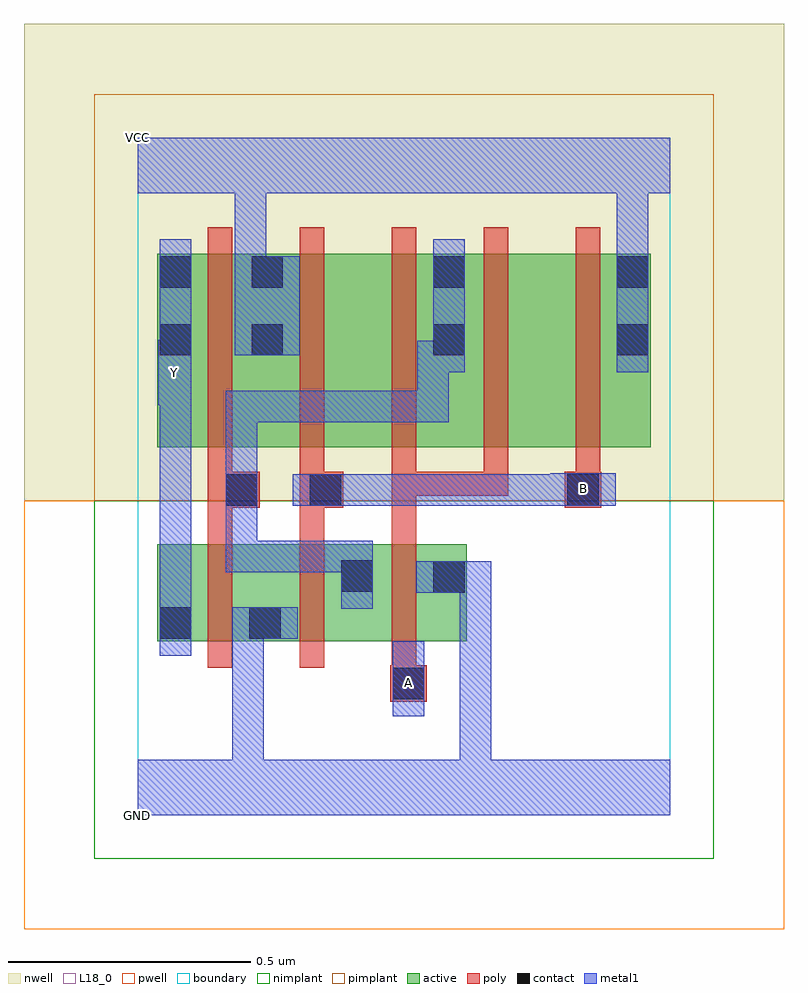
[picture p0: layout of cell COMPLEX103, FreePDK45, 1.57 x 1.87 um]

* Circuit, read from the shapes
.subckt COMPLEX103 A B GND VCC Y
M1 GND n1 Y VSUBS nfet w=0.2u l=0.05u
M2 n1 B GND VSUBS nfet w=0.2u l=0.05u
M3 GND A n1 VSUBS nfet w=0.2u l=0.05u
M4 VCC n1 Y n2 pfet w=0.4u l=0.05u
M5 n3 B VCC n2 pfet w=0.4u l=0.05u
M6 n1 A n3 n2 pfet w=0.4u l=0.05u
M7 n4 A n1 n2 pfet w=0.4u l=0.05u
M8 VCC B n4 n2 pfet w=0.4u l=0.05u
.ends

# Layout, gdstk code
import gdstk
lib = gdstk.Library(unit=1e-6, precision=1e-09)
def R(c, l, rs):  # rectangles x0, y0, x1, y1
    for r in rs: c.add(gdstk.rectangle(r[:2], r[2:], *l))
def A(c, l, x, y, w, h, nx, ny, dx, dy):  # array of equal rectangles
    R(c, l, [(x+i*dx, y+j*dy, x+i*dx+w, y+j*dy+h) for i in range(nx) for j in range(ny)])
active = (1, 0)
pwell = (2, 0)
nwell = (3, 0)
nimplant = (4, 0)
pimplant = (5, 0)
poly = (9, 0)
contact = (10, 0)
metal1 = (11, 0)
L18_0 = (18, 0)
boundary = (235, 0)

complex103 = lib.new_cell('COMPLEX103')
R(complex103, active, [(0.04,0.36,0.115,0.56), (0.04,0.36,0.3,0.56), (0.225,0.36,0.49,0.56), (0.225,0.36,0.3,0.435), (0.415,0.36,0.68,0.56), (0.415,0.36,0.49,0.532), (0.605,0.36,0.68,0.56), (0.04,0.76,0.115,1.16), (0.04,0.76,0.305,1.16), (0.23,0.76,0.455,1.16), (0.455,0.76,0.68,1.16), (0.605,0.76,0.835,1.16), (0.835,0.76,1.06,1.16), (0.985,0.76,1.06,1.16), (0.23,0.907,0.305,1.16), (0.605,0.907,0.68,1.16)])
R(complex103, pwell, [(-0.235,-0.235,1.335,0.65)])
R(complex103, nwell, [(-0.235,0.65,1.335,1.635)])
R(complex103, nimplant, [(-0.09,-0.09,1.19,0.65)])
R(complex103, pimplant, [(-0.09,0.65,1.19,1.49)])
A(complex103, poly, 0.145, 0.305, 0.05, 0.31, 3, 1, 0.19, 0)
R(complex103, poly, [(0.522,0.235,0.597,0.31), (0.525,0.26,0.575,0.355), (0.145,0.565,0.195,0.685), (0.335,0.565,0.385,0.685), (0.525,0.565,0.575,0.71), (0.145,0.635,0.252,0.71), (0.335,0.635,0.425,0.71), (0.882,0.635,0.957,0.71), (0.145,0.66,0.195,0.755), (0.335,0.66,0.385,0.755), (0.525,0.66,0.575,0.71), (0.525,0.66,0.575,0.71), (0.525,0.66,0.575,1.215), (0.525,0.66,0.765,0.71), (0.715,0.66,0.765,0.71), (0.715,0.66,0.765,0.71), (0.715,0.66,0.765,0.71), (0.715,0.66,0.765,0.755), (0.905,0.66,0.955,0.71), (0.905,0.66,0.955,1.215), (0.145,0.705,0.195,1.215), (0.335,0.705,0.385,1.215), (0.715,0.705,0.765,1.215)])
R(complex103, contact, [(0.527,0.24,0.592,0.305), (0.045,0.365,0.11,0.43), (0.23,0.365,0.295,0.43), (0.61,0.46,0.675,0.525), (0.42,0.462,0.485,0.527), (0.182,0.64,0.247,0.705), (0.355,0.64,0.42,0.705), (0.887,0.64,0.952,0.705), (0.045,0.95,0.11,1.015), (0.235,0.95,0.3,1.015), (0.61,0.95,0.675,1.015), (0.99,0.95,1.055,1.015), (0.045,1.09,0.11,1.155), (0.235,1.09,0.3,1.155), (0.61,1.09,0.675,1.155), (0.99,1.09,1.055,1.155)])
R(complex103, metal1, [(0,0,1.1,0.115), (0.195,0.05,0.26,0.115), (0.195,0.05,0.26,0.115), (0.195,0.05,0.26,0.43), (0.665,0.05,0.73,0.115), (0.665,0.05,0.73,0.115), (0.665,0.05,0.73,0.197), (0.665,0.132,0.73,0.197), (0.665,0.132,0.73,0.197), (0.665,0.132,0.73,0.197), (0.665,0.132,0.73,0.525), (0.527,0.205,0.592,0.36), (0.045,0.33,0.11,0.465), (0.195,0.365,0.26,0.43), (0.195,0.365,0.26,0.43), (0.195,0.365,0.26,0.43), (0.195,0.365,0.26,0.43), (0.195,0.365,0.33,0.43), (0.045,0.4,0.11,0.912), (0.42,0.427,0.485,0.567), (0.575,0.46,0.73,0.525), (0.182,0.502,0.247,0.567), (0.182,0.502,0.455,0.567), (0.182,0.502,0.247,0.74), (0.39,0.502,0.455,0.567), (0.39,0.502,0.485,0.567), (0.182,0.605,0.247,0.74), (0.32,0.64,0.455,0.705), (0.39,0.64,0.455,0.705), (0.39,0.64,0.455,0.705), (0.39,0.64,0.642,0.705), (0.577,0.64,0.642,0.705), (0.577,0.64,0.642,0.705), (0.577,0.64,0.642,0.705), (0.577,0.64,0.78,0.705), (0.715,0.64,0.78,0.705), (0.715,0.64,0.78,0.705), (0.715,0.64,0.78,0.705), (0.715,0.64,0.917,0.705), (0.852,0.64,0.987,0.707), (0.182,0.675,0.247,0.74), (0.182,0.675,0.247,0.74), (0.182,0.675,0.247,0.877), (0.182,0.812,0.247,0.877), (0.182,0.812,0.455,0.877), (0.39,0.812,0.455,0.877), (0.39,0.812,0.455,0.877), (0.39,0.812,0.455,0.877), (0.39,0.812,0.642,0.877), (0.577,0.812,0.642,0.98), (0.042,0.847,0.11,0.982), (0.045,0.915,0.11,0.98), (0.045,0.915,0.11,1.19), (0.577,0.915,0.675,0.98), (0.61,0.915,0.675,1.19), (0.99,0.915,1.055,1.19), (0.2,0.95,0.335,1.155), (0.2,1.09,0.265,1.155), (0.2,1.09,0.265,1.155), (0.2,1.09,0.265,1.35), (0.99,1.125,1.055,1.19), (0.99,1.125,1.055,1.19), (0.99,1.125,1.055,1.35), (0,1.285,1.1,1.4)])
R(complex103, L18_0, [(0,0,1.1,0.115), (0.195,0.05,0.26,0.115), (0.195,0.05,0.26,0.115), (0.195,0.05,0.26,0.43), (0.665,0.05,0.73,0.115), (0.665,0.05,0.73,0.115), (0.665,0.05,0.73,0.197), (0.665,0.132,0.73,0.197), (0.665,0.132,0.73,0.197), (0.665,0.132,0.73,0.197), (0.665,0.132,0.73,0.525), (0.527,0.205,0.592,0.36), (0.527,0.242,0.592,0.307), (0.045,0.33,0.11,0.465), (0.195,0.365,0.26,0.43), (0.195,0.365,0.26,0.43), (0.195,0.365,0.26,0.43), (0.195,0.365,0.26,0.43), (0.195,0.365,0.33,0.43), (0.045,0.4,0.11,0.912), (0.575,0.46,0.73,0.525), (0.32,0.64,0.455,0.705), (0.39,0.64,0.455,0.705), (0.39,0.64,0.455,0.705), (0.39,0.64,0.642,0.705), (0.577,0.64,0.642,0.705), (0.577,0.64,0.642,0.705), (0.577,0.64,0.642,0.705), (0.577,0.64,0.78,0.705), (0.715,0.64,0.78,0.705), (0.715,0.64,0.78,0.705), (0.715,0.64,0.78,0.705), (0.715,0.64,0.917,0.705), (0.852,0.64,0.987,0.707), (0.887,0.642,0.952,0.707), (0.042,0.847,0.11,0.982), (0.042,0.882,0.107,0.947), (0.045,0.915,0.11,1.19), (0.045,0.915,0.11,0.98), (0.99,0.915,1.055,1.19), (0.2,0.95,0.335,1.155), (0.2,1.09,0.265,1.155), (0.2,1.09,0.265,1.155), (0.2,1.09,0.265,1.35), (0.99,1.125,1.055,1.19), (0.99,1.125,1.055,1.19), (0.99,1.125,1.055,1.35), (0,1.285,1.1,1.4)])
R(complex103, boundary, [(0,0,1.1,1.4)])
complex103.add(gdstk.Label('A', (0.56,0.275), layer=11, texttype=0))
complex103.add(gdstk.Label('B', (0.92,0.675), layer=11, texttype=0))
complex103.add(gdstk.Label('Y', (0.075,0.915), layer=11, texttype=0))
complex103.add(gdstk.Label('VCC', (0,1.4), layer=11, texttype=0))
complex103.add(gdstk.Label('GND', (0,0), layer=11, texttype=0))

lib.write_gds('COMPLEX103.gds')
